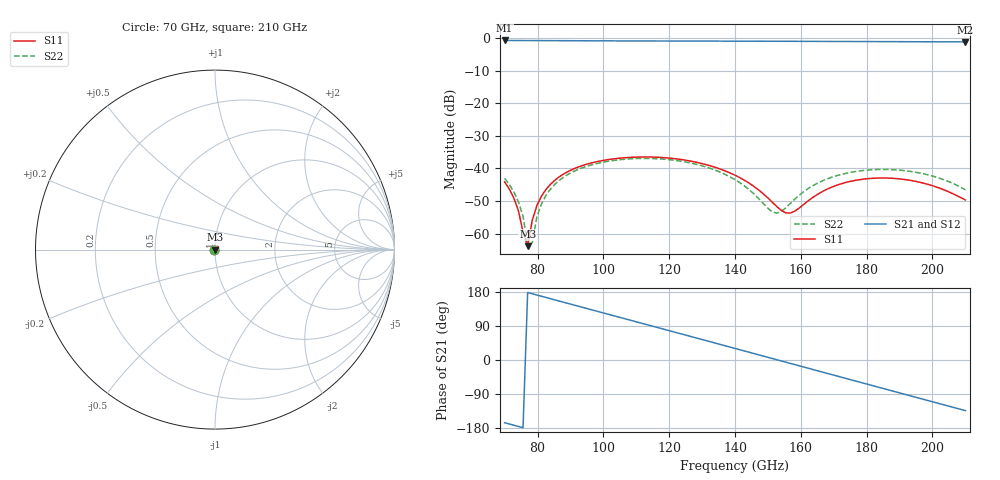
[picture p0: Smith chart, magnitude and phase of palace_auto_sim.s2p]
#  GHZ S DB R 50
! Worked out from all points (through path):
!   101 points, 70 GHz to 210 GHz, reference 50 ohm
!   highest |S21| = -0.68 dB at 70 GHz (marker M1); lowest = -1.1 dB at 210 GHz (marker M2)
!   group delay of S21, straight-line fit = 6.51 ps
!   lowest |S11| = -63.9 dB at 77 GHz (marker M3), VSWR 1.00, Z = 50 - j0.0474 ohm
!   |S11| at or under -10 dB: start of sweep to end of sweep
!   |S22| runs from -63.4 to -36.9 dB; largest |S21 - S12| = 1e-13
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70  -44.12 -145.9  -0.68 -165.5  -0.68 -165.5  -43.00 -148.1
72.8  -49.07 -148.7  -0.69 -172.1  -0.69 -172.1  -47.19 -152.9
74.2  -53.00 -146.7  -0.70 -175.4  -0.70 -175.4  -50.24 -154.2
75.6  -59.50 -132.9  -0.70 -178.7  -0.70 -178.7  -54.77 -152.6
77  -63.87 -47.7  -0.71 178.0  -0.71 178.0  -63.37 -133.9
78.4  -55.93 -11.4  -0.71 174.8  -0.71 174.8  -62.80 -22.9
79.8  -51.41 -6.2  -0.72 171.5  -0.72 171.5  -54.94 -6.8
82.6  -46.42 -7.6  -0.73 164.9  -0.73 164.9  -48.20 -6.7
86.8  -42.44 -14.8  -0.75 155.1  -0.75 155.1  -43.50 -14.0
93.8  -39.06 -29.1  -0.77 138.7  -0.77 138.7  -39.72 -28.6
106.4  -36.71 -56.0  -0.82 109.2  -0.82 109.2  -37.18 -55.5
117.6  -36.62 -80.9  -0.85 83.0  -0.85 83.0  -37.09 -80.2
128.8  -38.21 -106.7  -0.87 56.8  -0.87 56.8  -38.87 -105.4
140  -42.08 -130.3  -0.90 30.5  -0.90 30.5  -43.43 -126.9
147  -46.46 -138.7  -0.91 14.1  -0.91 14.1  -49.05 -127.5
152.6  -51.61 -128.3  -0.93 0.9  -0.93 0.9  -53.73 -88.3
156.8  -53.71 -94.6  -0.94 -8.9  -0.94 -8.9  -50.74 -54.8
163.8  -48.79 -65.3  -0.96 -25.4  -0.96 -25.4  -45.21 -50.9
175  -43.97 -82.4  -1.00 -51.7  -1.00 -51.7  -41.22 -73.7
187.6  -43.01 -118.5  -1.05 -81.2  -1.05 -81.2  -40.36 -107.6
198.8  -44.93 -158.1  -1.09 -107.4  -1.09 -107.4  -42.01 -140.3
210  -49.67 146.6  -1.12 -133.6  -1.12 -133.6  -46.57 -174.8
